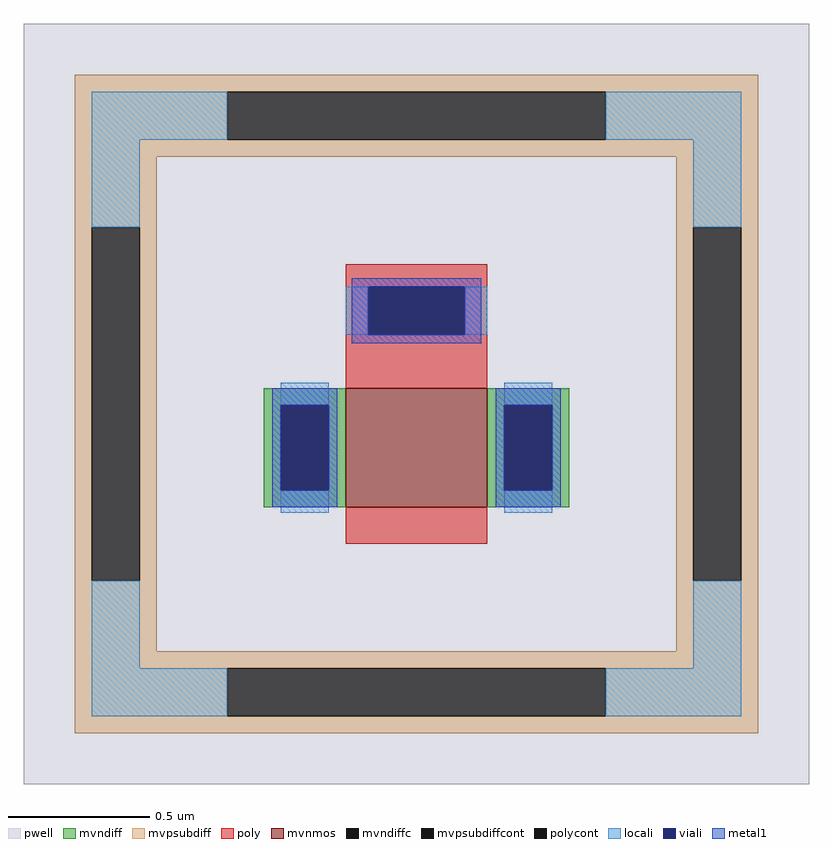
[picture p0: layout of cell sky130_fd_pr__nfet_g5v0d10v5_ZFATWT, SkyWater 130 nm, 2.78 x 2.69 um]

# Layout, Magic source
magic
tech sky130A
magscale 1 2
<< pwell >>
rect -278 -269 278 269
<< mvnmos >>
rect -50 -73 50 11
<< mvndiff >>
rect -108 -1 -50 11
rect -108 -61 -96 -1
rect -62 -61 -50 -1
rect -108 -73 -50 -61
rect 50 -1 108 11
rect 50 -61 62 -1
rect 96 -61 108 -1
rect 50 -73 108 -61
<< mvndiffc >>
rect -96 -61 -62 -1
rect 62 -61 96 -1
<< mvpsubdiff >>
rect -242 221 242 233
rect -242 187 -134 221
rect 134 187 242 221
rect -242 175 242 187
rect -242 125 -184 175
rect -242 -125 -230 125
rect -196 -125 -184 125
rect 184 125 242 175
rect -242 -175 -184 -125
rect 184 -125 196 125
rect 230 -125 242 125
rect 184 -175 242 -125
rect -242 -187 242 -175
rect -242 -221 -134 -187
rect 134 -221 242 -187
rect -242 -233 242 -221
<< mvpsubdiffcont >>
rect -134 187 134 221
rect -230 -125 -196 125
rect 196 -125 230 125
rect -134 -221 134 -187
<< poly >>
rect -50 83 50 99
rect -50 49 -34 83
rect 34 49 50 83
rect -50 11 50 49
rect -50 -99 50 -73
<< polycont >>
rect -34 49 34 83
<< locali >>
rect -230 187 -134 221
rect 134 187 230 221
rect -230 125 -196 187
rect 196 125 230 187
rect -50 49 -34 83
rect 34 49 50 83
rect -96 -1 -62 15
rect -96 -77 -62 -61
rect 62 -1 96 15
rect 62 -77 96 -61
rect -230 -187 -196 -125
rect 196 -187 230 -125
rect -230 -221 -134 -187
rect 134 -221 230 -187
<< viali >>
rect -34 49 34 83
rect -96 -61 -62 -1
rect 62 -61 96 -1
<< metal1 >>
rect -46 83 46 89
rect -46 49 -34 83
rect 34 49 46 83
rect -46 43 46 49
rect -102 -1 -56 11
rect -102 -61 -96 -1
rect -62 -61 -56 -1
rect -102 -73 -56 -61
rect 56 -1 102 11
rect 56 -61 62 -1
rect 96 -61 102 -1
rect 56 -73 102 -61
<< properties >>
string FIXED_BBOX -213 -204 213 204
string gencell sky130_fd_pr__nfet_g5v0d10v5
string library sky130
string parameters w 0.42 l 0.5 m 1 nf 1 diffcov 100 polycov 100 guard 1 glc 1 grc 1 gtc 1 gbc 1 tbcov 100 rlcov 100 topc 1 botc 0 poverlap 0 doverlap 1 lmin 0.50 wmin 0.42 compatible {sky130_fd_pr__nfet_01v8 sky130_fd_pr__nfet_01v8_lvt  sky130_fd_bs_flash__special_sonosfet_star  sky130_fd_pr__nfet_g5v0d10v5 sky130_fd_pr__nfet_05v0_nvt  sky130_fd_pr__nfet_03v3_nvt} full_metal 1 viasrc 100 viadrn 100 viagate 100 viagb 0 viagr 0 viagl 0 viagt 0
<< end >>
